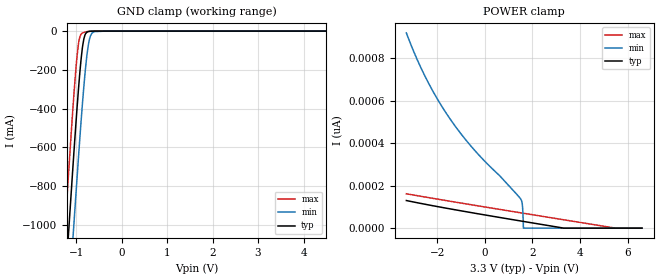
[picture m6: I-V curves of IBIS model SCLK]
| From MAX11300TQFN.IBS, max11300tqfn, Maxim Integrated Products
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[Model]   SCLK
Model_type   Input
Vinl = 0.99
Vinh = 2.31
|   typ   min   max
C_comp   1.176e-12   1.656e-12   8.302e-13
|C_comp (ON state)   1.176e-12   1.656e-12   8.302e-13
|C_comp (OFF state)   1.176e-12   1.656e-12   8.302e-13
[Voltage Range]   3.3   1.62   5.5
[Temperature Range]   25   105   -45
[Power Clamp Reference]   3.3   1.62   5.5
[GND Clamp Reference]   0   0   0
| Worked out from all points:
|   GND clamp passes 1 mA (typ) near -0.69 V on its own axis
[GND Clamp]
|   Voltage   I(typ)   I(min)   I(max)
-3.3V     -8.617A    -8.751A    -8.518A
-1.176V   -1.072A    -1.431A    -765.4mA
-1.082V   -739.1mA   -1.108A    -435.3mA
-1.045V   -609.3mA   -979mA     -312.6mA
-951.5mV  -306.3mA   -658.8mA   -69.83mA
-918.6mV  -212.7mA   -550.5mA   -29.79mA
-857mV    -75.87mA   -359.5mA   -9.116mA
-808.4mV  -21.51mA   -225.8mA   -5.241mA
-729.1mV  -2.267mA   -67.22mA   -1.844mA
-688.6mV  -883.2uA   -26.76mA   -922.3uA
-605.9mV  -149.9uA   -2.676mA   -163.1uA
6.6V      0A         0A         0A
[POWER Clamp]
|   Voltage   I(typ)   I(min)   I(max)
-3.3V     129.9pA    918.2pA    161.8pA
-2.851V   119.8pA    794.3pA    153pA
-2.36V    109.2pA    680.3pA    143.5pA
-1.429V   90pA       508.1pA    126pA
-330mV    68.46pA    353.4pA    105.7pA
1.513V    33.61pA    135.4pA    72.04pA
1.579V    32.38pA    103.3pA    70.83pA
1.599V    32.01pA    66.25pA    70.48pA
1.618V    31.65pA    254.5fA    70.13pA
3.297V    0A         0A         39.74pA
5.495V    0A         0A         0A
6.6V      0A         0A         0A
